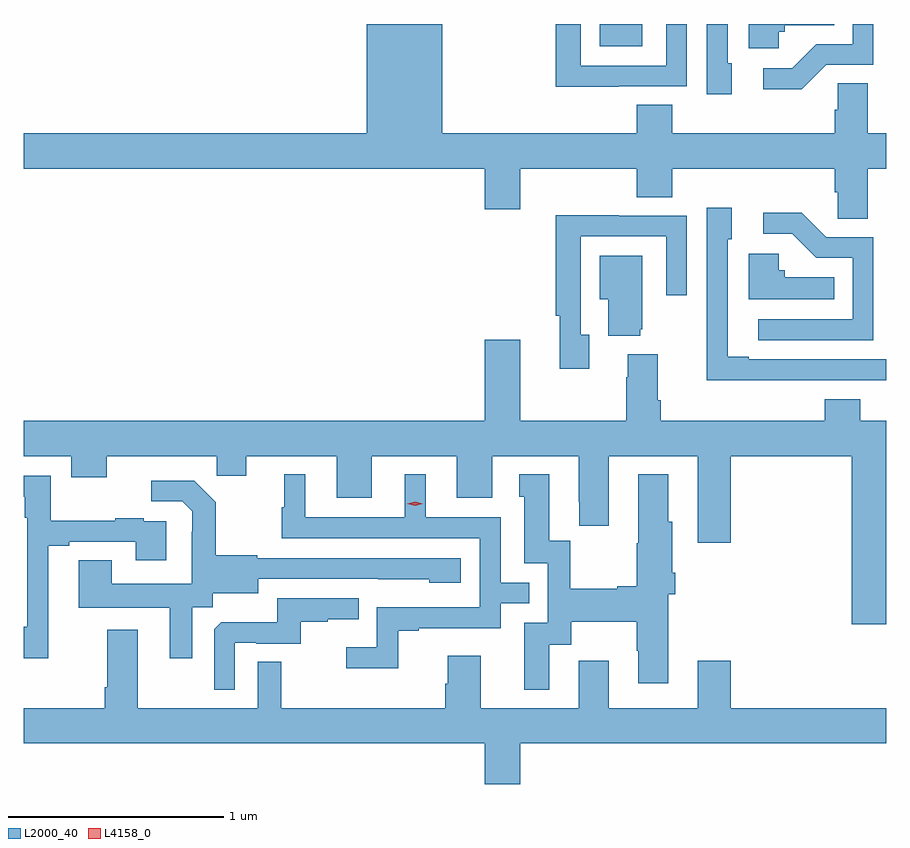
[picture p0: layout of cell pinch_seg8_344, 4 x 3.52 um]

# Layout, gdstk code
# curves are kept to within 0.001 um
import gdstk
lib = gdstk.Library(unit=1e-6, precision=1e-09)
def R(c, l, rs):  # rectangles x0, y0, x1, y1
    for r in rs: c.add(gdstk.rectangle(r[:2], r[2:], *l))
def P(c, l, *ps):  # polygons
    for p in ps: c.add(gdstk.Polygon(p, *l))
L2000_40 = (2000, 40)
L4158_0 = (4158, 0)

pinch_seg8_344 = lib.new_cell('pinch_seg8_344')
R(pinch_seg8_344, L2000_40, [(477.23,1153.031,477.427,1153.135)])
P(pinch_seg8_344, L2000_40, [(477.317,1152.846),(477.633,1152.846),(477.633,1153.135),(477.537,1153.135),(477.537,1152.942),(477.141,1152.942),(477.141,1153.135),(477.025,1153.135),(477.025,1152.845),(477.317,1152.845)],
  [(478.278,1152.945),(478.497,1152.945),(478.497,1153.135),(478.401,1153.135),(478.401,1153.041),(478.232,1153.041),(478.121,1152.93),(477.987,1152.93),(477.987,1152.833),(478.165,1152.833)],
  [(478.471,1152.464),(478.558,1152.464),(478.558,1152.628),(478.471,1152.628),(478.471,1152.86),(478.332,1152.86),(478.332,1152.737),(478.319,1152.737),(478.319,1152.628),(477.566,1152.628),(477.566,1152.761),(477.401,1152.761),(477.401,1152.628),(476.5,1152.628),(476.5,1153.135),(476.15,1153.135),(476.15,1152.628),(474.558,1152.628),(474.558,1152.464),(476.696,1152.464),(476.696,1152.276),(476.86,1152.276),(476.86,1152.464),(477.401,1152.464),(477.401,1152.331),(477.566,1152.331),(477.566,1152.464),(478.319,1152.464),(478.319,1152.355),(478.332,1152.355),(478.332,1152.232),(478.471,1152.232)],
  [(477.841,1152.954),(477.822,1152.954),(477.822,1153.135),(477.726,1153.135),(477.726,1152.81),(477.841,1152.81)],
  [(478.059,1153.098),(478.086,1153.098),(478.086,1153.13),(478.316,1153.13),(478.316,1153.135),(477.92,1153.135),(477.92,1153.022),(478.059,1153.022)],
  [(478.187,1151.484),(478.558,1151.484),(478.558,1151.58),(477.919,1151.58),(477.919,1151.593),(477.822,1151.593),(477.822,1152.138),(477.841,1152.138),(477.841,1152.283),(477.726,1152.283),(477.726,1151.789),(477.724,1151.789),(477.724,1151.483),(478.187,1151.483)],
  [(478.497,1152.147),(478.278,1152.147),(478.165,1152.26),(477.987,1152.26),(477.987,1152.162),(478.121,1152.162),(478.232,1152.051),(478.401,1152.051),(478.401,1151.766),(477.963,1151.766),(477.963,1151.67),(478.497,1151.67)],
  [(477.181,1151.694),(477.141,1151.694),(477.141,1152.15),(477.537,1152.15),(477.537,1151.877),(477.633,1151.877),(477.633,1152.246),(477.317,1152.246),(477.317,1152.248),(477.025,1152.248),(477.025,1151.782),(477.044,1151.782),(477.044,1151.538),(477.181,1151.538)],
  [(478.316,1151.962),(478.086,1151.962),(478.086,1151.994),(478.059,1151.994),(478.059,1152.07),(477.92,1152.07),(477.92,1151.858),(478.316,1151.858)],
  [(477.416,1151.721),(477.427,1151.721),(477.427,1152.061),(477.23,1152.061),(477.23,1151.858),(477.269,1151.858),(477.269,1151.69),(477.416,1151.69)],
  [(478.557,1151.132),(478.558,1151.132),(478.558,1151.296),(478.436,1151.296),(478.436,1151.395),(478.271,1151.395),(478.271,1151.296),(477.512,1151.296),(477.512,1151.392),(477.499,1151.392),(477.499,1151.605),(477.359,1151.605),(477.359,1151.498),(477.352,1151.498),(477.352,1151.296),(476.86,1151.296),(476.86,1151.671),(476.696,1151.671),(476.696,1151.296),(474.558,1151.296),(474.558,1151.132),(474.779,1151.132),(474.779,1151.033),(474.943,1151.033),(474.943,1151.132),(475.453,1151.132),(475.453,1151.042),(475.591,1151.042),(475.591,1151.132),(476.009,1151.132),(476.009,1150.938),(476.173,1150.938),(476.173,1151.132),(476.567,1151.132),(476.567,1150.938),(476.731,1150.938),(476.731,1151.132),(477.131,1151.132),(477.131,1150.921),(477.134,1150.921),(477.134,1150.809),(477.271,1150.809),(477.271,1151.132),(477.683,1151.132),(477.683,1150.731),(477.836,1150.731),(477.836,1151.132),(478.397,1151.132),(478.397,1150.353),(478.557,1150.353)],
  [(476.295,1150.323),(476.389,1150.323),(476.389,1150.335),(476.769,1150.335),(476.769,1150.449),(476.903,1150.449),(476.903,1150.545),(476.769,1150.545),(476.769,1150.848),(476.422,1150.848),(476.422,1151.047),(476.324,1151.047),(476.324,1150.848),(475.864,1150.848),(475.864,1151.047),(475.766,1151.047),(475.766,1150.896),(475.755,1150.896),(475.755,1150.752),(476.673,1150.752),(476.673,1150.431),(476.196,1150.431),(476.196,1150.246),(476.055,1150.246),(476.055,1150.148),(476.295,1150.148)],
  [(476.995,1150.258),(477.097,1150.258),(477.097,1150.364),(477.4,1150.364),(477.4,1150.23),(477.407,1150.23),(477.407,1150.08),(477.547,1150.08),(477.547,1150.491),(477.578,1150.491),(477.578,1150.591),(477.565,1150.591),(477.565,1150.827),(477.547,1150.827),(477.547,1151.047),(477.407,1151.047),(477.407,1150.727),(477.4,1150.727),(477.4,1150.529),(477.311,1150.529),(477.311,1150.516),(477.093,1150.516),(477.093,1150.739),(476.995,1150.739),(476.995,1151.047),(476.855,1151.047),(476.855,1150.944),(476.879,1150.944),(476.879,1150.635),(476.988,1150.635),(476.988,1150.359),(476.879,1150.359),(476.879,1150.05),(476.995,1150.05)],
  [(474.673,1150.716),(474.769,1150.716),(474.769,1150.734),(475.079,1150.734),(475.079,1150.65),(475.219,1150.65),(475.219,1150.83),(475.115,1150.83),(475.115,1150.843),(474.983,1150.843),(474.983,1150.832),(474.685,1150.832),(474.685,1151.04),(474.558,1151.04),(474.558,1150.943),(474.564,1150.943),(474.564,1150.847),(474.576,1150.847),(474.576,1150.342),(474.558,1150.342),(474.558,1150.194),(474.673,1150.194)],
  [(475.339,1150.432),(475.434,1150.432),(475.434,1150.496),(475.645,1150.496),(475.645,1150.563),(476.439,1150.562),(476.439,1150.544),(476.584,1150.544),(476.584,1150.659),(475.641,1150.659),(475.641,1150.672),(475.449,1150.672),(475.449,1150.917),(475.349,1151.017),(475.149,1151.017),(475.149,1150.923),(475.293,1150.923),(475.34,1150.876),(475.34,1150.781),(475.338,1150.781),(475.338,1150.54),(474.967,1150.54),(474.967,1150.649),(474.815,1150.649),(474.815,1150.43),(475.235,1150.43),(475.235,1150.194),(475.339,1150.194)],
  [(475.536,1150.266),(475.636,1150.266),(475.636,1150.263),(475.844,1150.263),(475.844,1150.365),(475.967,1150.365),(475.967,1150.376),(476.111,1150.376),(476.111,1150.473),(475.734,1150.473),(475.734,1150.361),(475.475,1150.361),(475.443,1150.329),(475.443,1150.049),(475.536,1150.049)],
  [(476.86,1149.8),(478.558,1149.8),(478.558,1149.964),(477.836,1149.964),(477.836,1150.183),(477.683,1150.183),(477.683,1149.964),(477.271,1149.964),(477.271,1150.183),(477.131,1150.183),(477.131,1149.964),(476.677,1149.964),(476.677,1150.207),(476.525,1150.207),(476.525,1150.077),(476.513,1150.077),(476.513,1149.964),(475.753,1149.964),(475.753,1150.178),(475.644,1150.178),(475.644,1149.964),(475.087,1149.964),(475.087,1150.327),(474.947,1150.327),(474.947,1150.06),(474.935,1150.06),(474.935,1149.964),(474.558,1149.964),(474.558,1149.8),(476.696,1149.8),(476.696,1149.612),(476.86,1149.612)])
P(pinch_seg8_344, L4158_0, [(476.373,1150.901),(476.337,1150.911),(476.337,1150.911),(476.337,1150.912),(476.373,1150.921),(476.409,1150.912),(476.409,1150.911),(476.409,1150.911)])

lib.write_gds('pinch_seg8_344.gds')
